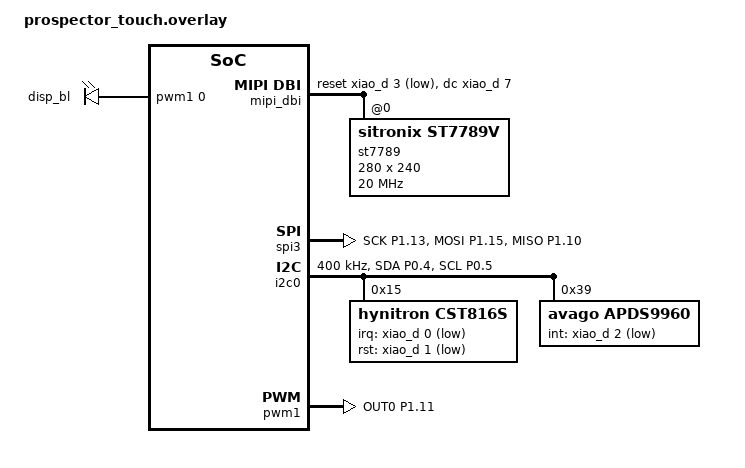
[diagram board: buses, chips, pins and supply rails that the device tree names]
/*
 * Prospector Touch shield overlay (Seeeduino XIAO BLE / nRF52840).
 *
 *  - ST7789V 1.69" 280x240 over SPI3 via Zephyr 4.1 MIPI DBI SPI.
 *  - CST816S capacitive touch on I2C0 (0x15); absolute coordinates are read
 *    directly by the UI input callback (no ZMK pointing / input processors).
 *  - APDS9960 ambient light sensor on I2C0 (0x39) for auto-brightness.
 *  - PWM backlight on P1.11.
 */

#include <zephyr/dt-bindings/mipi_dbi/mipi_dbi.h>

/ {
    chosen {
        zephyr,display = &st7789;
    };

    pwmleds {
        compatible = "pwm-leds";
        disp_bl: disp_bl {
            /* Net-NORMAL backlight polarity (no PWM-cell inversion, and no
             * nordic,invert in pwm1_default below). This matches the working
             * Prospector Scanner, which drives the SAME touch display module
             * (ST7789V + CST816S). A net inversion drives this panel's
             * active-high backlight off and yields a black screen. */
            pwms = <&pwm1 0 PWM_MSEC(1) PWM_POLARITY_NORMAL>;
        };
    };
};

&pinctrl {
    spi3_default: spi3_default {
        group1 {
            psels = <NRF_PSEL(SPIM_SCK, 1, 13)>,
                    <NRF_PSEL(SPIM_MOSI, 1, 15)>,
                    <NRF_PSEL(SPIM_MISO, 1, 10)>;
        };
    };
    spi3_sleep: spi3_sleep {
        group1 {
            psels = <NRF_PSEL(SPIM_SCK, 1, 13)>,
                    <NRF_PSEL(SPIM_MOSI, 1, 15)>,
                    <NRF_PSEL(SPIM_MISO, 1, 10)>;
            low-power-enable;
        };
    };
    pwm1_default: pwm1_default {
        group1 {
            /* No nordic,invert: the backlight is net-NORMAL (see disp_bl).
             * Adding an inversion here would black out the panel. */
            psels = <NRF_PSEL(PWM_OUT0, 1, 11)>;
        };
    };
    pwm1_sleep: pwm1_sleep {
        group1 {
            psels = <NRF_PSEL(PWM_OUT0, 1, 11)>;
            low-power-enable;
        };
    };
    i2c0_default: i2c0_default {
        group1 {
            psels = <NRF_PSEL(TWIM_SDA, 0, 4)>,   /* D4 = P0.04 = SDA */
                    <NRF_PSEL(TWIM_SCL, 0, 5)>;   /* D5 = P0.05 = SCL */
        };
    };
    i2c0_sleep: i2c0_sleep {
        group1 {
            psels = <NRF_PSEL(TWIM_SDA, 0, 4)>,
                    <NRF_PSEL(TWIM_SCL, 0, 5)>;
            low-power-enable;
        };
    };
};

&spi2 {
    status = "disabled";
};

&spi3 {
    status = "okay";
    pinctrl-0 = <&spi3_default>;
    pinctrl-1 = <&spi3_sleep>;
    pinctrl-names = "default", "sleep";
    cs-gpios = <&xiao_d 9 GPIO_ACTIVE_LOW>;
};

/ {
    mipi_dbi: mipi-dbi {
        compatible = "zephyr,mipi-dbi-spi";
        spi-dev = <&spi3>;
        dc-gpios = <&xiao_d 7 GPIO_ACTIVE_HIGH>;
        reset-gpios = <&xiao_d 3 GPIO_ACTIVE_LOW>;
        write-only;
        #address-cells = <1>;
        #size-cells = <0>;

        st7789: st7789v@0 {
            compatible = "sitronix,st7789v";
            reg = <0>;
            mipi-max-frequency = <20000000>;
            mipi-mode = "MIPI_DBI_MODE_SPI_4WIRE";
            width = <280>;
            height = <240>;
            x-offset = <20>;
            y-offset = <0>;
            vcom = <0x19>;
            gctrl = <0x35>;
            vrhs = <0x12>;
            vdvs = <0x20>;
            mdac = <0x60>;
            gamma = <0x01>;
            colmod = <0x05>;
            lcm = <0x2c>;
            porch-param = [0c 0c 00 33 33];
            cmd2en-param = [5a 69 02 01];
            pwctrl1-param = [a4 a1];
            pvgam-param = [d0 04 0d 11 13 2b 3f 54 4c 18 0d 0b 1f 23];
            nvgam-param = [d0 04 0c 11 13 2c 3f 44 51 2f 1f 1f 20 23];
            ram-param = [00 f0];
            rgb-param = [cd 08 14];
        };
    };
};

&i2c0 {
    status = "okay";
    pinctrl-0 = <&i2c0_default>;
    pinctrl-1 = <&i2c0_sleep>;
    pinctrl-names = "default", "sleep";
    clock-frequency = <I2C_BITRATE_FAST>;

    cst816s: cst816s@15 {
        compatible = "hynitron,cst816s";
        reg = <0x15>;
        irq-gpios = <&xiao_d 0 (GPIO_ACTIVE_LOW | GPIO_PULL_UP)>;
        rst-gpios = <&xiao_d 1 GPIO_ACTIVE_LOW>;
    };

    apds9960: apds9960@39 {
        compatible = "avago,apds9960";
        reg = <0x39>;
        int-gpios = <&xiao_d 2 (GPIO_ACTIVE_LOW | GPIO_PULL_UP)>;
    };
};

&pwm1 {
    status = "okay";
    pinctrl-0 = <&pwm1_default>;
    pinctrl-1 = <&pwm1_sleep>;
    pinctrl-names = "default", "sleep";
};
